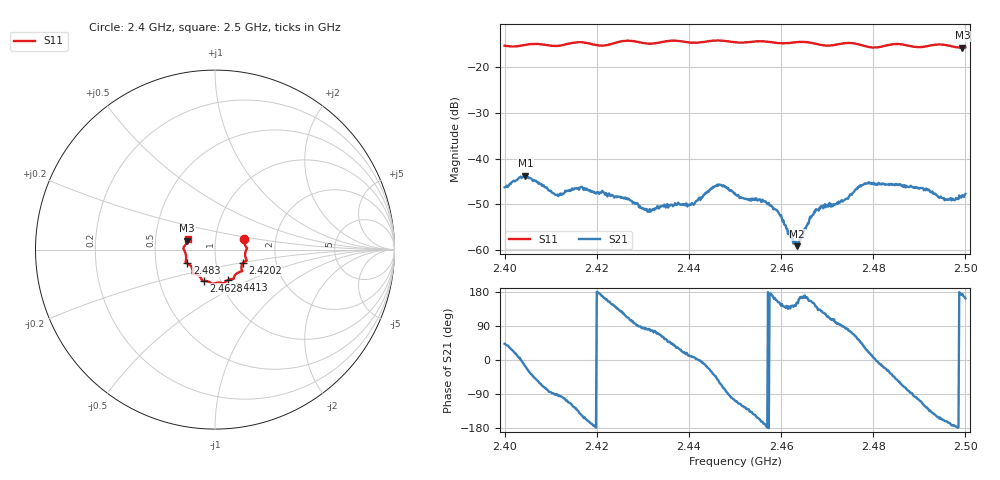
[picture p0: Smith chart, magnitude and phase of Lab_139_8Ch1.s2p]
# Hz S RI R 50
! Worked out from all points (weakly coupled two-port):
!   601 points, 2.4 GHz to 2.5 GHz, reference 50 ohm
!   highest |S21| = -43.71 dB at 2.4045 GHz (marker M1); lowest = -59.1 dB at 2.4635 GHz (marker M2)
!   lowest |S11| = -15.8 dB at 2.4993 GHz (marker M3), VSWR 1.39, Z = 36.5 + j3.72 ohm
!   |S11| at or under -10 dB: start of sweep to end of sweep
!   S12 and S22 are empty: the file has one direction only
!   S11 on the Smith chart (normalised r, x): 2.4 GHz: 1.37, +0.16; 2.4202 GHz: 1.35, -0.20; 2.4413 GHz: 1.09, -0.38; 2.4628 GHz: 0.83, -0.30; 2.483 GHz: 0.72, -0.11; 2.5 GHz: 0.73, +0.09
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2.4e9  0.1609 0.0569  0.00356 0.0033  0 0  0 0
2.4045e9  0.1735 0.0155  0.00624 -0.0019  0 0  0 0
2.411333e9  0.1679 -0.0245  -3e-05 -0.004  0 0  0 0
2.416667e9  0.1759 -0.0615  -0.00402 -0.0028  0 0  0 0
2.420167e9  0.1563 -0.0729  -0.0043 5e-05  0 0  0 0
2.430833e9  0.1249 -0.1303  0.000401 0.00278  0 0  0 0
2.433333e9  0.108 -0.1485  0.00103 0.00276  0 0  0 0
2.441333e9  0.0742 -0.1681  0.00329 0.000294  0 0  0 0
2.446333e9  0.0489 -0.1886  0.00303 -0.00404  0 0  0 0
2.45e9  0.0293 -0.184  -0.00128 -0.00397  0 0  0 0
2.457667e9  -0.0209 -0.1863  -0.00309 0.000242  0 0  0 0
2.4595e9  -0.0347 -0.1789  -0.00224 0.00119  0 0  0 0
2.462833e9  -0.0629 -0.1746  -0.000971 0.000716  0 0  0 0
2.4635e9  -0.0663 -0.1747  -0.000973 0.000525  0 0  0 0
2.466667e9  -0.0743 -0.1675  -0.0021 0.00107  0 0  0 0
2.477667e9  -0.1245 -0.119  0.0039 0.00335  0 0  0 0
2.483e9  -0.1548 -0.0766  0.00462 -0.00243  0 0  0 0
2.483333e9  -0.1569 -0.0754  0.00458 -0.00255  0 0  0 0
2.491667e9  -0.1683 -0.0101  -0.00266 -0.00375  0 0  0 0
2.496e9  -0.1718 0.0164  -0.00339 -0.00107  0 0  0 0
2.499333e9  -0.1545 0.0497  -0.00396 0.000413  0 0  0 0
2.5e9  -0.1528 0.0584  -0.00392 0.00124  0 0  0 0
